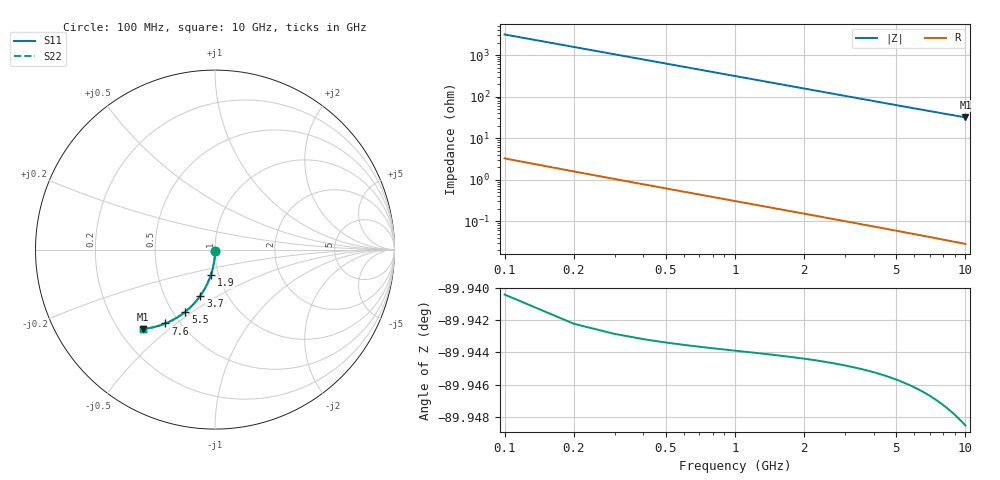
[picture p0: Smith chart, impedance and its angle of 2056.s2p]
# Hz S RI R 50.00
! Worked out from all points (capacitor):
!   100 points, 100 MHz to 10 GHz, reference 50 ohm
!   read as one part in shunt: C = 510 fF near 100 MHz
!   lowest |Z| = 31.6 ohm at 10 GHz (marker M1)
!   S11 on the Smith chart (normalised r, x): 100 MHz: 1.00, -0.02; 1.9 GHz: 0.92, -0.26; 3.7 GHz: 0.75, -0.42; 5.5 GHz: 0.58, -0.47; 7.6 GHz: 0.42, -0.46; 10 GHz: 0.30, -0.41
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1e8  2e-05 -0.00754  0.9998 -0.00847  0.9998 -0.00847  2e-05 -0.00754
2e8  -0.000179 -0.0151  0.9996 -0.0169  0.9996 -0.0169  -0.000179 -0.0151
3e8  -0.000505 -0.0226  0.9993 -0.0254  0.9993 -0.0254  -0.000505 -0.0226
4e8  -0.000959 -0.0301  0.9988 -0.0338  0.9988 -0.0338  -0.000959 -0.0301
5e8  -0.00154 -0.0377  0.9983 -0.0423  0.9983 -0.0423  -0.00154 -0.0377
6e8  -0.00225 -0.0452  0.9975 -0.0507  0.9975 -0.0507  -0.00225 -0.0452
8e8  -0.00404 -0.0601  0.9957 -0.0675  0.9957 -0.0675  -0.00404 -0.0601
1.1e9  -0.00767 -0.0824  0.9921 -0.0926  0.9921 -0.0926  -0.00767 -0.0824
1.4e9  -0.0124 -0.1043  0.9873 -0.1173  0.9873 -0.1173  -0.0124 -0.1043
1.8e9  -0.0204 -0.1331  0.9793 -0.1498  0.9793 -0.1498  -0.0204 -0.1331
1.9e9  -0.0227 -0.1401  0.977 -0.1578  0.977 -0.1578  -0.0227 -0.1401
2.2e9  -0.0302 -0.161  0.9694 -0.1815  0.9694 -0.1815  -0.0302 -0.161
2.6e9  -0.0418 -0.188  0.9577 -0.2123  0.9577 -0.2123  -0.0418 -0.188
3.4e9  -0.0696 -0.2387  0.9297 -0.2705  0.9297 -0.2705  -0.0696 -0.2387
3.7e9  -0.0815 -0.2564  0.9177 -0.291  0.9177 -0.291  -0.0815 -0.2564
4.4e9  -0.1118 -0.2947  0.8871 -0.3359  0.8871 -0.3359  -0.1118 -0.2947
5.1e9  -0.1451 -0.3284  0.8536 -0.3763  0.8536 -0.3763  -0.1451 -0.3284
5.5e9  -0.1651 -0.3456  0.8333 -0.3974  0.8333 -0.3974  -0.1651 -0.3456
6.7e9  -0.228 -0.3881  0.7698 -0.4515  0.7698 -0.4515  -0.228 -0.3881
7.6e9  -0.2763 -0.4113  0.7208 -0.4835  0.7208 -0.4835  -0.2763 -0.4113
8.4e9  -0.319 -0.4262  0.6775 -0.5063  0.6775 -0.5063  -0.319 -0.4262
1e10  -0.4011 -0.442  0.594 -0.5382  0.594 -0.5382  -0.4011 -0.442
